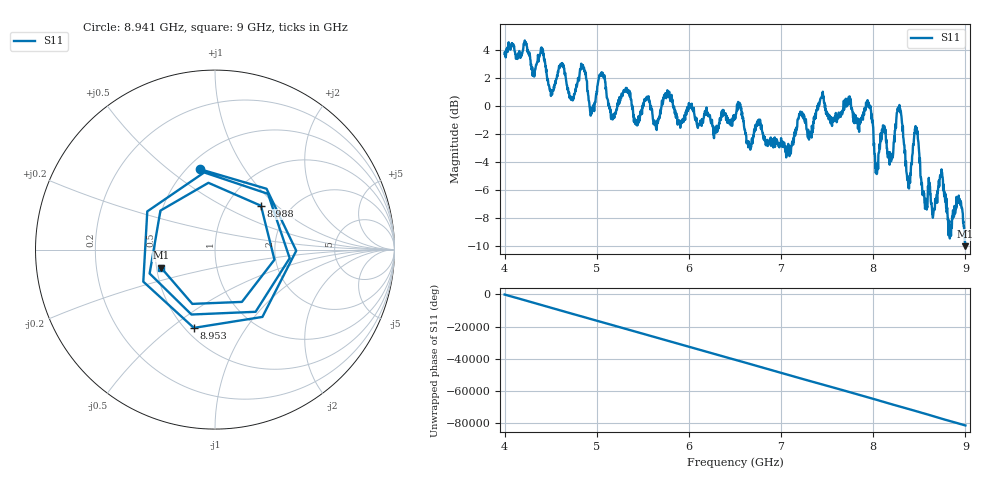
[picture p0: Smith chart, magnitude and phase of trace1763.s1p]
! Created with skrf 1.8.0 (http://scikit-rf.org).
# Hz S RI R 50.0
!freq ReS11 ImS11
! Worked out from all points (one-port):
!   1601 points, 4 GHz to 9 GHz, reference 50 ohm
!   lowest |S11| = -10.0 dB at 9 GHz (marker M1), VSWR 1.93, Z = 26.4 - j5.94 ohm
!   |S11| at or under -10 dB: nowhere
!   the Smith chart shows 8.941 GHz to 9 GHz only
!   S11 on the Smith chart (normalised r, x): 8.941 GHz: 0.58, +0.65; 8.953 GHz: 0.55, -0.61; 8.988 GHz: 1.43, +0.80; 9 GHz: 0.53, -0.12
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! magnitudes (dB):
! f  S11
! 4 GHz  3.7
! 4.406 GHz  4.1
! 4.512 GHz  0.9
! 4.625 GHz  3.1
! 4.725 GHz  0.4
! 4.844 GHz  2.9
! 4.947 GHz  -0.3
! 5.05 GHz  2.2
! 5.169 GHz  -0.8
! 5.25 GHz  0.6
! 5.875 GHz  -1.0
! 6.5 GHz  -0.7
! 7.125 GHz  -2.6
! 7.75 GHz  0.4
! 7.953 GHz  0.0
! 8.038 GHz  -4.9
! 8.109 GHz  -1.5
! 8.197 GHz  -3.5
! 8.281 GHz  -0.1
! 8.375 GHz  -5.0
! 8.466 GHz  -1.7
! 8.562 GHz  -7.3
! 8.738 GHz  -5.0
! 8.834 GHz  -9.3
! 8.941 GHz  -6.8
! 8.953 GHz  -6.9
! 8.988 GHz  -9.0
! 9 GHz  -10.0
